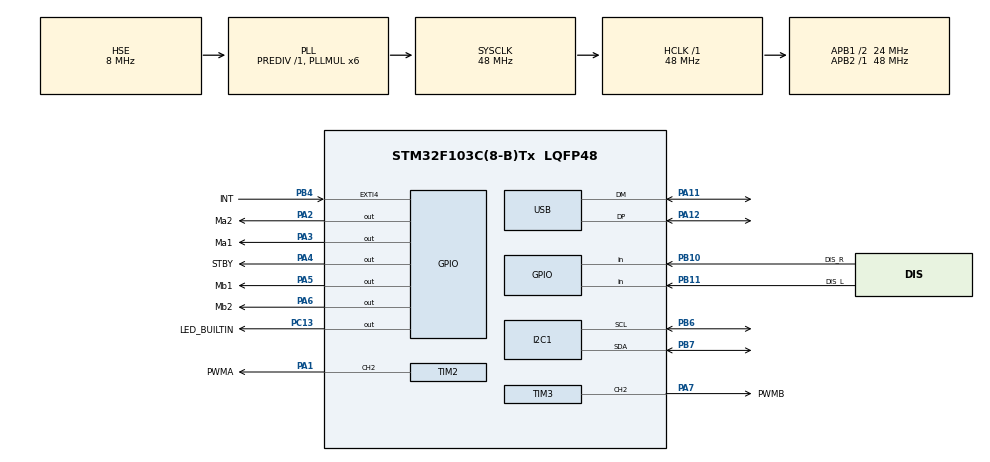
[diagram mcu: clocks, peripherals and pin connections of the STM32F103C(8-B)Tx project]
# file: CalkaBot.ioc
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I2C1.I2C_Mode=I2C_Fast
Mcu.Family=STM32F1
Mcu.Name=STM32F103C(8-B)Tx
Mcu.Package=LQFP48
NVIC.PriorityGroup=NVIC_PRIORITYGROUP_4
NVIC.USB_LP_CAN1_RX0_IRQn=true\:0\:0\:false\:false\:true\:false\:true
PA1.GPIO_Label=PWMA
PA1.Signal=S_TIM2_CH2
PA11.Mode=Device
PA11.Signal=USB_DM
PA12.Mode=Device
PA12.Signal=USB_DP
PA13.Mode=Serial_Wire
PA13.Signal=SYS_JTMS-SWDIO
PA14.Mode=Serial_Wire
PA14.Signal=SYS_JTCK-SWCLK
PA2.GPIO_Label=Ma2
PA2.Signal=GPIO_Output
PA3.GPIO_Label=Ma1
PA3.Signal=GPIO_Output
PA4.GPIO_Label=STBY
PA4.Signal=GPIO_Output
PA5.GPIO_Label=Mb1
PA5.Signal=GPIO_Output
PA6.GPIO_Label=Mb2
PA6.Signal=GPIO_Output
PA7.GPIO_Label=PWMB
PA7.Signal=S_TIM3_CH2
PB10.GPIO_Label=DIS_R
PB10.Signal=GPIO_Input
PB11.GPIO_Label=DIS_L
PB11.Signal=GPIO_Input
PB4.GPIO_Label=INT
PB4.Signal=GPXTI4
PB6.Mode=I2C
PB6.Signal=I2C1_SCL
PB7.Mode=I2C
PB7.Signal=I2C1_SDA
PC13-TAMPER-RTC.GPIO_Label=LED_BUILTIN
PC13-TAMPER-RTC.PinState=GPIO_PIN_SET
PC13-TAMPER-RTC.Signal=GPIO_Output
PD0-OSC_IN.Mode=HSE-External-Oscillator
PD0-OSC_IN.Signal=RCC_OSC_IN
PD1-OSC_OUT.Mode=HSE-External-Oscillator
PD1-OSC_OUT.Signal=RCC_OSC_OUT
ProjectManager.HeapSize=0x200
ProjectManager.StackSize=0x400
ProjectManager.TargetToolchain=STM32CubeIDE
RCC.ADCPresc=RCC_ADCPCLK2_DIV4
RCC.AHBFreq_Value=48000000
RCC.APB1CLKDivider=RCC_HCLK_DIV2
RCC.APB1Freq_Value=24000000
RCC.APB1TimFreq_Value=48000000
RCC.APB2Freq_Value=48000000
RCC.APB2TimFreq_Value=48000000
RCC.HCLKFreq_Value=48000000
RCC.PLLMUL=RCC_PLL_MUL6
RCC.SYSCLKFreq_VALUE=48000000
RCC.SYSCLKSource=RCC_SYSCLKSOURCE_PLLCLK
RCC.USBFreq_Value=48000000
SH.S_TIM2_CH2.0=TIM2_CH2,PWM Generation2 CH2
SH.S_TIM3_CH2.0=TIM3_CH2,PWM Generation2 CH2
TIM2.AutoReloadPreload=TIM_AUTORELOAD_PRELOAD_ENABLE
TIM2.Channel-PWM\ Generation2\ CH2=TIM_CHANNEL_2
TIM2.Period=999
TIM2.Prescaler=48
TIM3.AutoReloadPreload=TIM_AUTORELOAD_PRELOAD_ENABLE
TIM3.Channel-PWM\ Generation2\ CH2=TIM_CHANNEL_2
TIM3.Period=999
TIM3.Prescaler=48
USB_DEVICE.CLASS_NAME_FS=CDC
USB_DEVICE.USBD_DEBUG_LEVEL=3
USB_DEVICE.VirtualMode=Cdc
USB_DEVICE.VirtualModeFS=Cdc_FS
VP_TIM2_VS_ClockSourceINT.Mode=Internal
VP_TIM3_VS_ClockSourceINT.Mode=Internal
VP_USB_DEVICE_VS_USB_DEVICE_CDC_FS.Mode=CDC_FS
board=custom

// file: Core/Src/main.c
/* USER CODE BEGIN Header */
/**
  ******************************************************************************
  * @file           : main.c
  * @brief          : Main program body
  ******************************************************************************
  * @attention
  *
  * <h2><center>&copy; Copyright (c) 2020 STMicroelectronics.
  * All rights reserved.</center></h2>
  *
  * This software component is licensed by ST under BSD 3-Clause license,
  * the "License"; You may not use this file except in compliance with the
  * License. You may obtain a copy of the License at:
  *                        opensource.org/licenses/BSD-3-Clause
  *
  ******************************************************************************
  */
/* USER CODE END Header */
#include "main.h"
#include "i2c.h"
#include "tim.h"
#include "usb_device.h"
#include "gpio.h"

/* USER CODE BEGIN Includes */
#include "usbd_cdc_if.h" 				// Plik bedacy interfejsem uzytkownika do kontrolera USB
#include "motor.h"

//#include "mpu6050.h"

/* USER CODE END Includes */

struct sensor
{
	char *name;
	int writeAddress;
	char *buff;
	int size;

};

int configSensor(struct sensor s, char *name)

/* USER CODE BEGIN PV */
TIM_HandleTypeDef htim2;
TIM_HandleTypeDef htim3;

//MPU6050_t MPU6050;
/* USER CODE END PV */

void SystemClock_Config(void);
/* USER CODE BEGIN PFP */

void TIM2_IRQHandler(void)
{
	HAL_TIM_IRQHandler(&htim2);
}
void HAL_TIM_PeriodElapsedCallback(TIM_HandleTypeDef *htim)
{
	HAL_GPIO_TogglePin(LED_BUILTIN_GPIO_Port, LED_BUILTIN_Pin);
}
/* USER CODE END PFP */

int main(void)
{

  /* MCU Configuration--------------------------------------------------------*/

  /* Reset of all peripherals, Initializes the Flash interface and the Systick. */
  HAL_Init();

  /* Configure the system clock */
  SystemClock_Config();

  /* Initialize all configured peripherals */
  MX_GPIO_Init();
  MX_USB_DEVICE_Init();
  MX_TIM2_Init();
  MX_I2C1_Init();
  MX_TIM3_Init();
  /* USER CODE BEGIN 2 */
  HAL_TIM_PWM_Start(&htim2, TIM_CHANNEL_2);
  HAL_TIM_PWM_Start(&htim3, TIM_CHANNEL_2);

  //uint8_t DataToSend[40];			// Tablica zawierajaca dane do wyslania
  //uint8_t MessageCounter = 0; 		// Licznik wyslanych wiadomosci
  //uint8_t MessageLength = 0; 		// Zawiera dlugosc wysylanej wiadomosci
  HAL_TIM_Base_Start_IT(&htim2);
  HAL_TIM_Base_Start_IT(&htim3);
  HAL_GPIO_WritePin(STBY_GPIO_Port, STBY_Pin, SET);
  struct VL53L0X sensor;
  /* USER CODE END 2 */

  /* Infinite loop */
  /* USER CODE BEGIN WHILE */
  while (1)
  {
	  /*if (HAL_ADC_PollForConversion(&hadc1, 10) == HAL_OK) { 					// Oczekiwanie na zakonczenie konwersji
	  			uint8_t data[40];
	  			uint16_t PomiarADC 	= HAL_ADC_GetValue(&hadc1);						// Pobranie zmierzonej wartosci
	  			uint16_t len 		= sprintf(data, "%d\n", PomiarADC);
	  			CDC_Transmit_FS(data, len);
	  			HAL_ADC_Start(&hadc1);												//Rozpoczecie nowej konwersji
	  	}*/
	  HAL_I2C_Master_Receive(hi2c1, sensor.readAddress, &sensor.buff, sensor.size, HAL_MAX_DELAY);
	  CDC_Transmit_FS(sensor.buff, sensor.size);
	  HAL_Delay(1000);
	  /* USER CODE END WHILE */
  }
}

void SystemClock_Config(void)
{
  RCC_OscInitTypeDef RCC_OscInitStruct = {0};
  RCC_ClkInitTypeDef RCC_ClkInitStruct = {0};
  RCC_PeriphCLKInitTypeDef PeriphClkInit = {0};

  /** Initializes the RCC Oscillators according to the specified parameters
  * in the RCC_OscInitTypeDef structure.
  */
  RCC_OscInitStruct.OscillatorType = RCC_OSCILLATORTYPE_HSE;
  RCC_OscInitStruct.HSEState = RCC_HSE_ON;
  RCC_OscInitStruct.HSEPredivValue = RCC_HSE_PREDIV_DIV1;
  RCC_OscInitStruct.HSIState = RCC_HSI_ON;
  RCC_OscInitStruct.PLL.PLLState = RCC_PLL_ON;
  RCC_OscInitStruct.PLL.PLLSource = RCC_PLLSOURCE_HSE;
  RCC_OscInitStruct.PLL.PLLMUL = RCC_PLL_MUL6;
  if (HAL_RCC_OscConfig(&RCC_OscInitStruct) != HAL_OK)
  {
    Error_Handler();
  }
  /** Initializes the CPU, AHB and APB buses clocks
  */
  RCC_ClkInitStruct.ClockType = RCC_CLOCKTYPE_HCLK|RCC_CLOCKTYPE_SYSCLK
                              |RCC_CLOCKTYPE_PCLK1|RCC_CLOCKTYPE_PCLK2;
  RCC_ClkInitStruct.SYSCLKSource = RCC_SYSCLKSOURCE_PLLCLK;
  RCC_ClkInitStruct.AHBCLKDivider = RCC_SYSCLK_DIV1;
  RCC_ClkInitStruct.APB1CLKDivider = RCC_HCLK_DIV2;
  RCC_ClkInitStruct.APB2CLKDivider = RCC_HCLK_DIV1;

  if (HAL_RCC_ClockConfig(&RCC_ClkInitStruct, FLASH_LATENCY_1) != HAL_OK)
  {
    Error_Handler();
  }
  PeriphClkInit.PeriphClockSelection = RCC_PERIPHCLK_USB;
  PeriphClkInit.UsbClockSelection = RCC_USBCLKSOURCE_PLL;
  if (HAL_RCCEx_PeriphCLKConfig(&PeriphClkInit) != HAL_OK)
  {
    Error_Handler();
  }
}

void Error_Handler(void)
{
}

/************************ (C) COPYRIGHT STMicroelectronics *****END OF FILE****/
